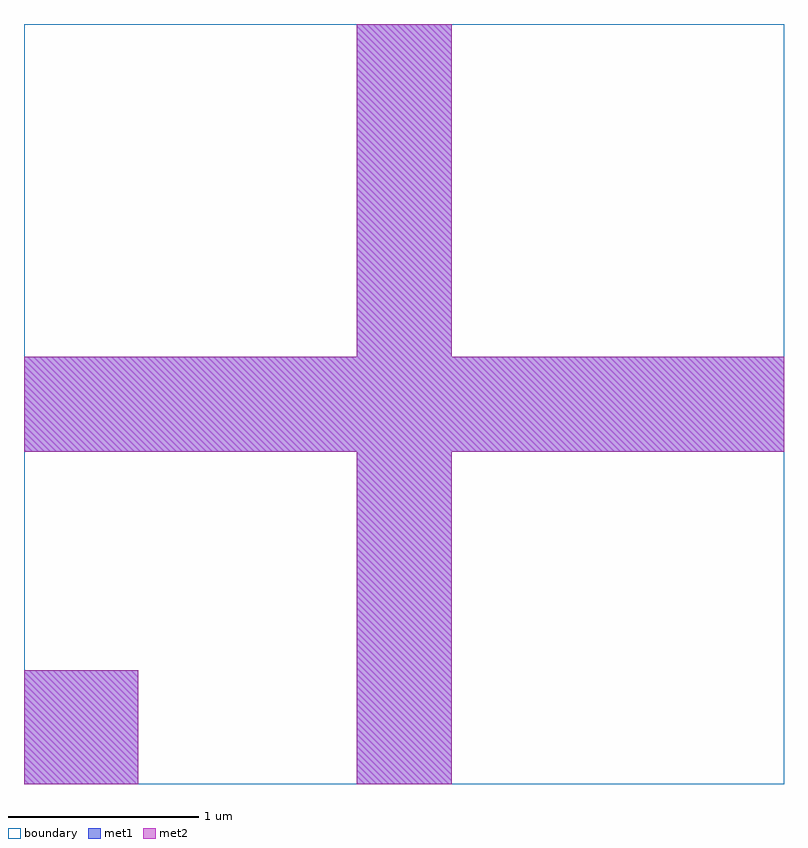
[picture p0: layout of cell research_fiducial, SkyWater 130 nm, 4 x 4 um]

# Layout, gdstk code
import gdstk
lib = gdstk.Library(unit=1e-6, precision=1e-09)
def R(c, l, rs):  # rectangles x0, y0, x1, y1
    for r in rs: c.add(gdstk.rectangle(r[:2], r[2:], *l))
met1 = (68, 20)
met2 = (69, 20)
boundary = (235, 4)

research_fiducial = lib.new_cell('research_fiducial')
R(research_fiducial, met1, [(0,0,0.6,0.6), (1.75,0,2.25,4), (0,1.75,4,2.25)])
R(research_fiducial, met2, [(0,0,0.6,0.6), (1.75,0,2.25,4), (0,1.75,4,2.25)])
R(research_fiducial, boundary, [(0,0,4,4)])

lib.write_gds('research_fiducial.gds')
